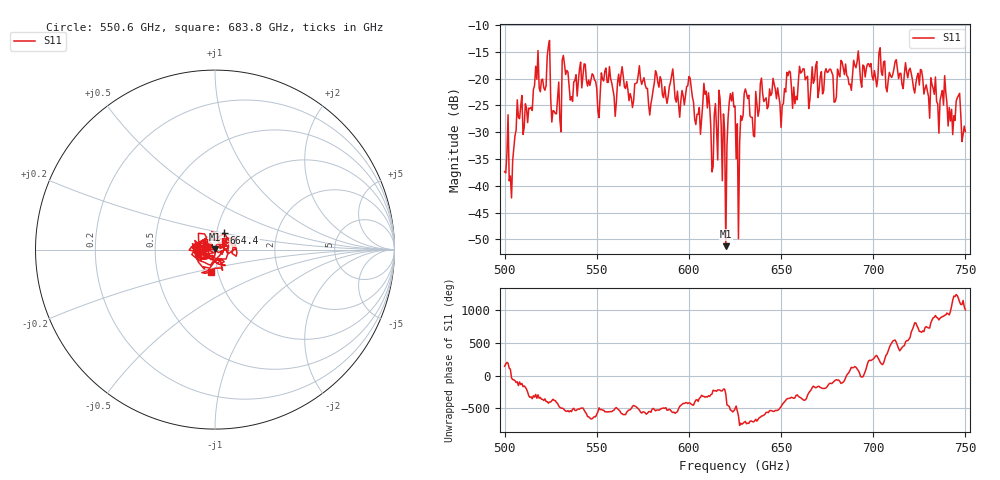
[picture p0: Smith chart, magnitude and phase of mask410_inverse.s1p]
!Created with skrf (http://scikit-rf.org).
# GHz S MA R 50.0
!freq magS11 angS11
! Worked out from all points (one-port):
!   401 points, 500 GHz to 750 GHz, reference 50 ohm
!   lowest |S11| = -51.3 dB at 620 GHz (marker M1), VSWR 1.01, Z = 50 + j0.271 ohm
!   |S11| at or under -10 dB: start of sweep to end of sweep
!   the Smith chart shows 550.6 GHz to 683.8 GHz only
!   S11 on the Smith chart (normalised r, x): 550.6 GHz: 0.91, +0.02; 664.4 GHz: 1.09, +0.20; 683.8 GHz: 0.93, -0.23
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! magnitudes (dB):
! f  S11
! 500 GHz  -37.4
! 503.8 GHz  -42.3
! 508.1 GHz  -27.5
! 513.8 GHz  -25.6
! 516.9 GHz  -17.7
! 523.8 GHz  -14.0
! 526.9 GHz  -26.1
! 531.2 GHz  -16.5
! 550.6 GHz  -26.1
! 562.5 GHz  -21.3
! 593.8 GHz  -22.3
! 609.4 GHz  -22.3
! 612.5 GHz  -37.4
! 615.6 GHz  -35.2
! 620 GHz  -51.3
! 622.5 GHz  -22.8
! 625 GHz  -25.1
! 626.9 GHz  -49.9
! 631.2 GHz  -22.7
! 634.4 GHz  -27.2
! 640 GHz  -22.8
! 656.2 GHz  -25.5
! 664.4 GHz  -19.6
! 683.8 GHz  -18.1
! 687.5 GHz  -21.0
! 718.8 GHz  -19.8
! 746.2 GHz  -23.2
! 750 GHz  -29.9
